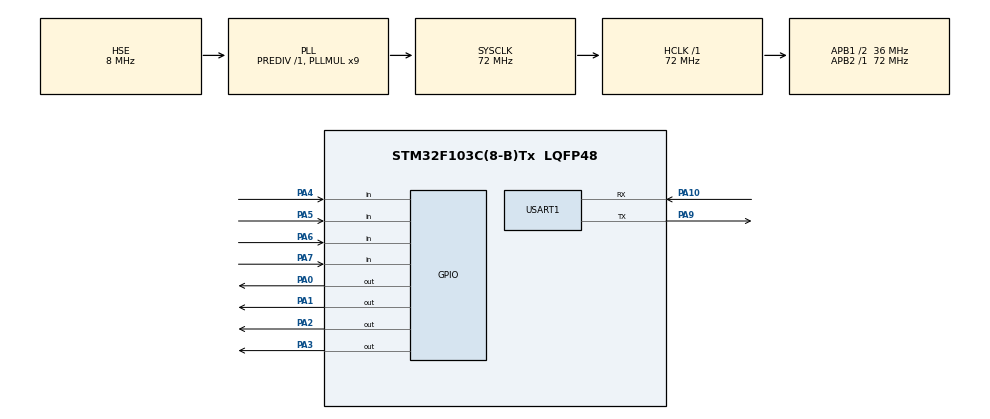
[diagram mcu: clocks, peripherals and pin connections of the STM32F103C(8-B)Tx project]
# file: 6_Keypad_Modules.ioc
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Mcu.Family=STM32F1
RCC.PLLSourceVirtual=RCC_PLLSOURCE_HSE
PD1-OSC_OUT.Mode=HSE-External-Oscillator
PA10.Mode=Asynchronous
PA7.GPIO_Mode=GPIO_MODE_INPUT
PD0-OSC_IN.Signal=RCC_OSC_IN
RCC.APB1CLKDivider=RCC_HCLK_DIV2
RCC.SYSCLKSource=RCC_SYSCLKSOURCE_PLLCLK
ProjectManager.StackSize=0x400
PA0-WKUP.Signal=GPIO_Output
PA6.GPIO_Mode=GPIO_MODE_INPUT
PD1-OSC_OUT.Signal=RCC_OSC_OUT
PA13.Signal=SYS_JTMS-SWDIO
PA9.Mode=Asynchronous
ProjectManager.TargetToolchain=STM32CubeIDE
RCC.HCLKFreq_Value=72000000
RCC.APB2TimFreq_Value=72000000
PA9.Signal=USART1_TX
RCC.USBFreq_Value=72000000
PA1.Signal=GPIO_Output
PA7.GPIO_PuPd=GPIO_PULLUP
RCC.AHBFreq_Value=72000000
PD0-OSC_IN.Mode=HSE-External-Oscillator
PA5.Signal=GPIO_Input
PA4.GPIO_PuPd=GPIO_PULLUP
board=custom
RCC.PLLMUL=RCC_PLL_MUL9
PA4.GPIO_Mode=GPIO_MODE_INPUT
RCC.APB2Freq_Value=72000000
PA6.GPIO_PuPd=GPIO_PULLUP
PA14.Mode=Serial_Wire
PA5.GPIO_PuPd=GPIO_PULLUP
PA13.Mode=Serial_Wire
Mcu.Name=STM32F103C(8-B)Tx
PA2.Signal=GPIO_Output
PA4.Signal=GPIO_Input
RCC.SYSCLKFreq_VALUE=72000000
Mcu.Package=LQFP48
PA6.Signal=GPIO_Input
USART1.VirtualMode=VM_ASYNC
PA10.Signal=USART1_RX
PA14.Signal=SYS_JTCK-SWCLK
ProjectManager.HeapSize=0x200
NVIC.PriorityGroup=NVIC_PRIORITYGROUP_4
RCC.APB1TimFreq_Value=72000000
RCC.APB1Freq_Value=36000000
PA5.GPIO_Mode=GPIO_MODE_INPUT
PA3.Signal=GPIO_Output
PA7.Signal=GPIO_Input

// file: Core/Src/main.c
/* USER CODE BEGIN Header */
/**
  ******************************************************************************
  * @file           : main.c
  * @brief          : Main program body
  ******************************************************************************
  * @attention
  *
  * <h2><center>&copy; Copyright (c) 2021 STMicroelectronics.
  * All rights reserved.</center></h2>
  *
  * This software component is licensed by ST under BSD 3-Clause license,
  * the "License"; You may not use this file except in compliance with the
  * License. You may obtain a copy of the License at:
  *                        opensource.org/licenses/BSD-3-Clause
  *
  ******************************************************************************
  */
/* USER CODE END Header */
#include "main.h"

/* USER CODE BEGIN Includes */
#define PRESS_SIZE 8
#define KeyIDLE	'I'
#define ROW1_PIN GPIO_PIN_0
#define ROW2_PIN GPIO_PIN_1
#define ROW3_PIN GPIO_PIN_2
#define ROW4_PIN GPIO_PIN_3

#define COL1_PIN GPIO_PIN_7
#define COL2_PIN GPIO_PIN_6
#define COL3_PIN GPIO_PIN_5
#define COL4_PIN GPIO_PIN_4
/* USER CODE END Includes */

UART_HandleTypeDef huart1;

/* USER CODE BEGIN PV */
char key[16] = {
		'1', '2', '3', '4',
		'5', '6', '7', '8',
		'9', '0', '*', '#',
		'A', 'B', 'C', 'D' };

uint16_t row_gpio[4] = { ROW1_PIN, ROW2_PIN, ROW3_PIN, ROW4_PIN }; //OUTPUT
uint16_t col_gpio[4] = { COL1_PIN, COL2_PIN, COL3_PIN, COL4_PIN };//INPUT PULLUP
uint8_t flag = 0;
uint32_t debounceTime = 200;
uint32_t timerTick;
/* USER CODE END PV */

void SystemClock_Config(void);
static void MX_GPIO_Init(void);
static void MX_USART1_UART_Init(void);

/* USER CODE BEGIN 0 */
char KeypadRead() {
	uint8_t pin_temp;
	for (uint8_t i = 0; i < 4; i++) {
		for (int g = 0; g < 4; g++) {
			if (g != i) {
				HAL_GPIO_WritePin(GPIOA, row_gpio[g], GPIO_PIN_SET);
			} else {
				HAL_GPIO_WritePin(GPIOA, row_gpio[g], GPIO_PIN_RESET);
				pin_temp = g;
			}
		}
		HAL_Delay(1);
		for (uint8_t j = 0; j < 4; j++) {
			if (HAL_GPIO_ReadPin(GPIOA, col_gpio[j]) == GPIO_PIN_RESET) {
				while (HAL_GPIO_ReadPin(GPIOA, col_gpio[j]) == GPIO_PIN_RESET)
					;
				HAL_GPIO_WritePin(GPIOA, row_gpio[pin_temp], GPIO_PIN_SET);
				HAL_Delay(1);
				if(HAL_GetTick()- timerTick > debounceTime)
				{
					timerTick = HAL_GetTick();
					return key[i * 4 + j];
				}
			}
		}
	}
	HAL_GPIO_WritePin(GPIOA, row_gpio[pin_temp], GPIO_PIN_SET);
	HAL_Delay(1);
	return KeyIDLE;
}
/* USER CODE END 0 */

int main(void)
{

  /* MCU Configuration--------------------------------------------------------*/

  /* Reset of all peripherals, Initializes the Flash interface and the Systick. */
  HAL_Init();

  /* Configure the system clock */
  SystemClock_Config();

  /* Initialize all configured peripherals */
  MX_GPIO_Init();
  MX_USART1_UART_Init();

  /* Infinite loop */
  while (1)
  {

    /* USER CODE BEGIN 3 */
		char keyval = KeypadRead();
		if(keyval != KeyIDLE)
		{
			HAL_UART_Transmit(&huart1, &keyval, 1, 500);
		}
  }
  /* USER CODE END 3 */
}

void SystemClock_Config(void)
{
  RCC_OscInitTypeDef RCC_OscInitStruct = {0};
  RCC_ClkInitTypeDef RCC_ClkInitStruct = {0};

  /** Initializes the RCC Oscillators according to the specified parameters
  * in the RCC_OscInitTypeDef structure.
  */
  RCC_OscInitStruct.OscillatorType = RCC_OSCILLATORTYPE_HSE;
  RCC_OscInitStruct.HSEState = RCC_HSE_ON;
  RCC_OscInitStruct.HSEPredivValue = RCC_HSE_PREDIV_DIV1;
  RCC_OscInitStruct.HSIState = RCC_HSI_ON;
  RCC_OscInitStruct.PLL.PLLState = RCC_PLL_ON;
  RCC_OscInitStruct.PLL.PLLSource = RCC_PLLSOURCE_HSE;
  RCC_OscInitStruct.PLL.PLLMUL = RCC_PLL_MUL9;
  if (HAL_RCC_OscConfig(&RCC_OscInitStruct) != HAL_OK)
  {
    Error_Handler();
  }
  /** Initializes the CPU, AHB and APB buses clocks
  */
  RCC_ClkInitStruct.ClockType = RCC_CLOCKTYPE_HCLK|RCC_CLOCKTYPE_SYSCLK
                              |RCC_CLOCKTYPE_PCLK1|RCC_CLOCKTYPE_PCLK2;
  RCC_ClkInitStruct.SYSCLKSource = RCC_SYSCLKSOURCE_PLLCLK;
  RCC_ClkInitStruct.AHBCLKDivider = RCC_SYSCLK_DIV1;
  RCC_ClkInitStruct.APB1CLKDivider = RCC_HCLK_DIV2;
  RCC_ClkInitStruct.APB2CLKDivider = RCC_HCLK_DIV1;

  if (HAL_RCC_ClockConfig(&RCC_ClkInitStruct, FLASH_LATENCY_2) != HAL_OK)
  {
    Error_Handler();
  }
}

static void MX_USART1_UART_Init(void)
{

  huart1.Instance = USART1;
  huart1.Init.BaudRate = 115200;
  huart1.Init.WordLength = UART_WORDLENGTH_8B;
  huart1.Init.StopBits = UART_STOPBITS_1;
  huart1.Init.Parity = UART_PARITY_NONE;
  huart1.Init.Mode = UART_MODE_TX_RX;
  huart1.Init.HwFlowCtl = UART_HWCONTROL_NONE;
  huart1.Init.OverSampling = UART_OVERSAMPLING_16;
  if (HAL_UART_Init(&huart1) != HAL_OK)
  {
    Error_Handler();
  }

}

static void MX_GPIO_Init(void)
{
  GPIO_InitTypeDef GPIO_InitStruct = {0};

  /* GPIO Ports Clock Enable */
  __HAL_RCC_GPIOD_CLK_ENABLE();
  __HAL_RCC_GPIOA_CLK_ENABLE();

  /*Configure GPIO pin Output Level */
  HAL_GPIO_WritePin(GPIOA, GPIO_PIN_0|GPIO_PIN_1|GPIO_PIN_2|GPIO_PIN_3, GPIO_PIN_RESET);

  /*Configure GPIO pins : PA0 PA1 PA2 PA3 */
  GPIO_InitStruct.Pin = GPIO_PIN_0|GPIO_PIN_1|GPIO_PIN_2|GPIO_PIN_3;
  GPIO_InitStruct.Mode = GPIO_MODE_OUTPUT_PP;
  GPIO_InitStruct.Pull = GPIO_NOPULL;
  GPIO_InitStruct.Speed = GPIO_SPEED_FREQ_LOW;
  HAL_GPIO_Init(GPIOA, &GPIO_InitStruct);

  /*Configure GPIO pins : PA4 PA5 PA6 PA7 */
  GPIO_InitStruct.Pin = GPIO_PIN_4|GPIO_PIN_5|GPIO_PIN_6|GPIO_PIN_7;
  GPIO_InitStruct.Mode = GPIO_MODE_INPUT;
  GPIO_InitStruct.Pull = GPIO_PULLUP;
  HAL_GPIO_Init(GPIOA, &GPIO_InitStruct);

}

void Error_Handler(void)
{
  __disable_irq();
  while (1)
  {
  }
}

/************************ (C) COPYRIGHT STMicroelectronics *****END OF FILE****/
